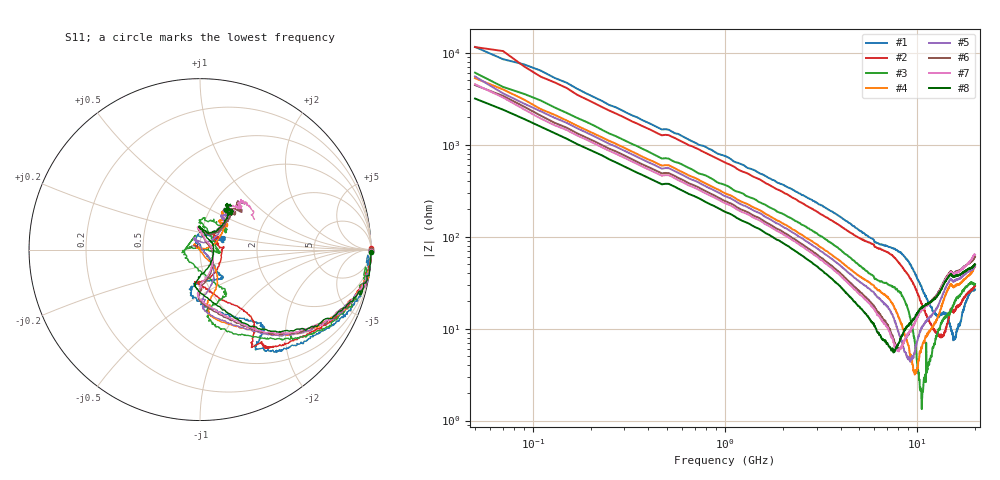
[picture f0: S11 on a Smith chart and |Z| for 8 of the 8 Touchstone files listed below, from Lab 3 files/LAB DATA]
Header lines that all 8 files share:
#	mhz	s	ma	r	50
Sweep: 50 MHz to 20.05 GHz
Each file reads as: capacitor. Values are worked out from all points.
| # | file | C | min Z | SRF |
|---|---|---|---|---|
| 1 | 0N2_pF.s2p | 232 fF | 7.46 ohm | 15.33 GHz |
| 2 | 0N3_pF.s2p | 269 fF | 8.02 ohm | 13.86 GHz |
| 3 | 0N4_pF.s2p | 479 fF | 1.33 ohm | 10.63 GHz |
| 4 | 0N5_pF.s2p | 579 fF | 3.17 ohm | 9.57 GHz |
| 5 | 0N6_pF.s2p | 618 fF | 4.35 ohm | 8.863 GHz |
| 6 | 0N7_pF.s2p | 701 fF | 5.76 ohm | 8.055 GHz |
| 7 | 0N8_pF.s2p | 739 fF | 5.64 ohm | 7.959 GHz |
| 8 | 0N9_pF.s2p | 915 fF | 5.5 ohm | 7.584 GHz |
